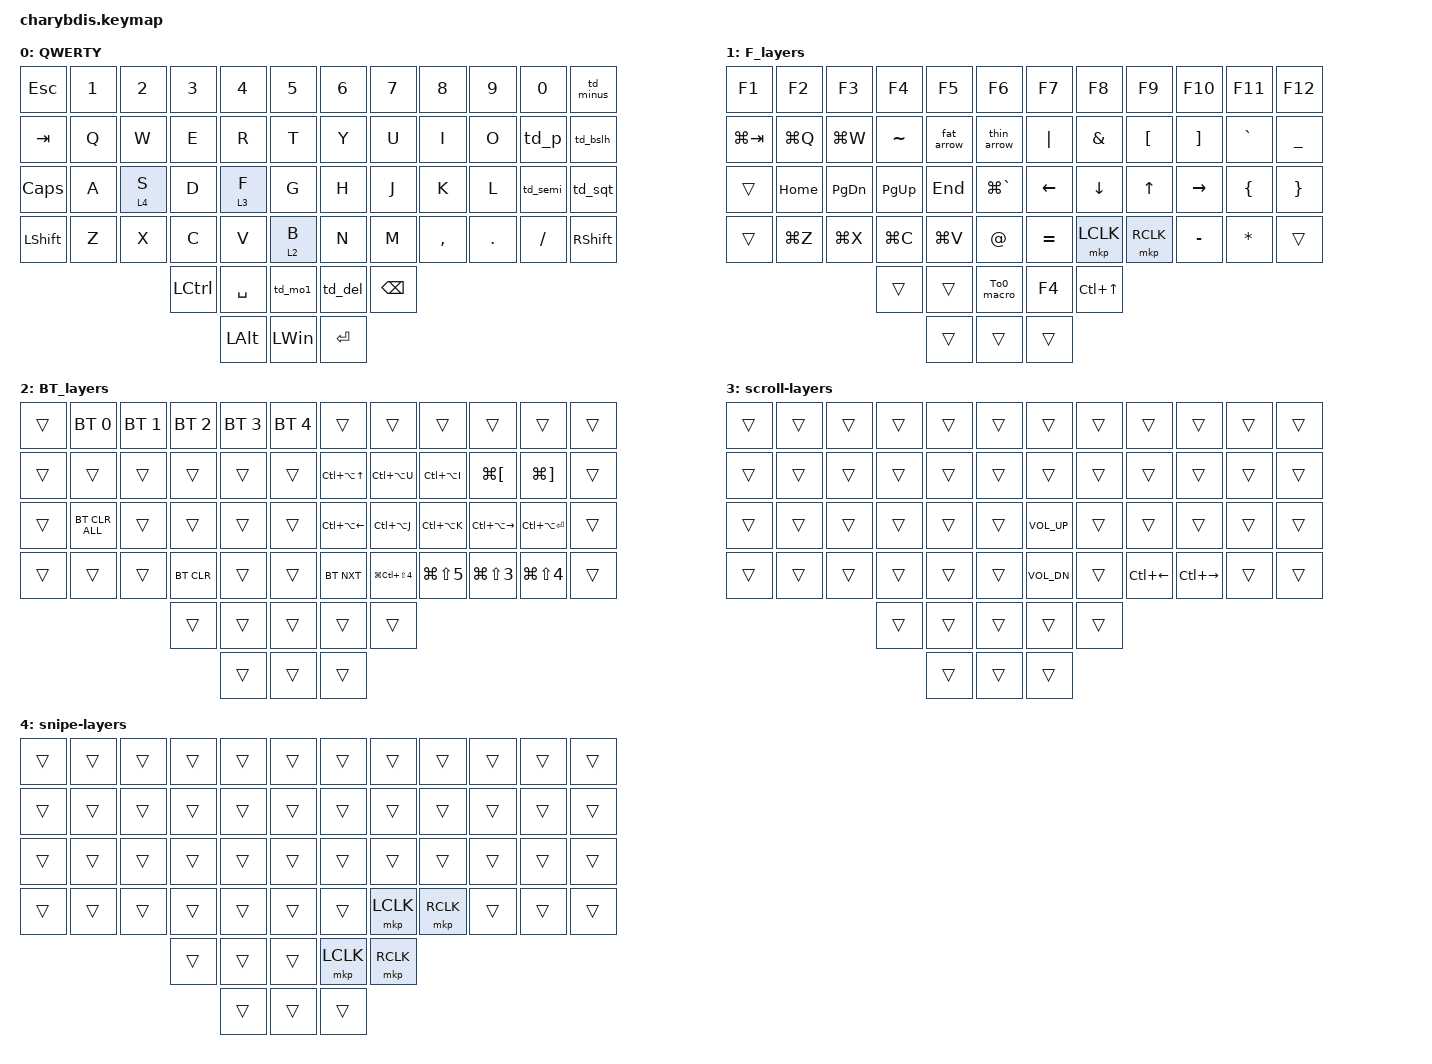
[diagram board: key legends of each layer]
#include <behaviors.dtsi>
#include <dt-bindings/zmk/bt.h>
#include <dt-bindings/zmk/keys.h>
#include <dt-bindings/zmk/pointing.h>
#include <dt-bindings/zmk/rgb.h>

&lt {
    tapping-term-ms = <200>;
    flavor = "balanced";
    quick-tap-ms = <150>;
};

/ {
    behaviors {
        td_semi: td_semi {
            compatible = "zmk,behavior-tap-dance";
            #binding-cells = <0>;
            tapping-term-ms = <200>;
            bindings = <&kp SEMI>, <&kp COLON>;
        };
        td_sqt: td_sqt {
            compatible = "zmk,behavior-tap-dance";
            #binding-cells = <0>;
            tapping-term-ms = <200>;
            bindings = <&kp SQT>, <&kp DQT>;
        };
        td_del: td_del {
            compatible = "zmk,behavior-tap-dance";
            #binding-cells = <0>;
            tapping-term-ms = <200>;
            bindings = <&kp DEL>, <&kp LG(BSPC)>;
        };
        td_bslh: td_bslh {
            compatible = "zmk,behavior-tap-dance";
            #binding-cells = <0>;
            tapping-term-ms = <200>;
            bindings = <&kp BSLH>, <&kp PIPE>;
        };
        td_p: td_p {
            compatible = "zmk,behavior-tap-dance";
            #binding-cells = <0>;
            tapping-term-ms = <200>;
            bindings = <&kp P>, <&kp PLUS>;
        };
        td_minus: td_minus {
            compatible = "zmk,behavior-tap-dance";
            #binding-cells = <0>;
            tapping-term-ms = <200>;
            bindings = <&kp MINUS>, <&kp EQUAL>;
        };
        td_mo1: td_mo1 {
            compatible = "zmk,behavior-tap-dance";
            #binding-cells = <0>;
            tapping-term-ms = <150>;
            bindings = <&mo 1>, <&kp LA(SPACE)>;
        };
    };

    macros {
        To1_macro: To1_macro {
            compatible = "zmk,behavior-macro";
            label = "To1_macro";
            #binding-cells = <0>;
            bindings = <&rgb_ug RGB_EFF &rgb_ug RGB_COLOR_HSB(128,100,50) &to 1>;
        };

        To0_macro: To0_macro {
            compatible = "zmk,behavior-macro";
            label = "To0_macro";
            #binding-cells = <0>;
            bindings = <&rgb_ug RGB_EFR &to 0>;
        };

        To2_macro: To2_macro {
            compatible = "zmk,behavior-macro";
            label = "To2_macro";
            #binding-cells = <0>;
            bindings =
                <&to 2>,
                <&macro_wait_time 30>,
                <&rgb_ug RGB_COLOR_HSB(250,100,50)>;
        };

        fat_arrow: fat_arrow {
            compatible = "zmk,behavior-macro";
            label = "fat_arrow";
            #binding-cells = <0>;
            wait-ms = <40>;
            tap-ms = <40>;
            bindings = <&kp EQUAL &kp GT>;
        };

        thin_arrow: thin_arrow {
            compatible = "zmk,behavior-macro";
            label = "thin_arrow";
            #binding-cells = <0>;
            wait-ms = <40>;
            tap-ms = <40>;
            bindings = <&kp MINUS &kp GT>;
        };
    };

    keymap {
        compatible = "zmk,keymap";

        QWERTY {
            bindings = <
&kp ESC         &kp N1  &kp N2   &kp N3            &kp N4        &kp N5          &kp N6    &kp N7  &kp N8     &kp N9   &kp N0     &td_minus
&kp TAB         &kp Q   &kp W    &kp E             &kp R         &kp T           &kp Y     &kp U   &kp I      &kp O    &td_p      &td_bslh
&kp CAPSLOCK    &kp A   &lt 4 S  &kp D             &lt 3 F       &kp G           &kp H     &kp J   &kp K      &kp L    &td_semi   &td_sqt
&kp LEFT_SHIFT  &kp Z   &kp X    &kp C             &kp V         &lt 2 B         &kp N     &kp M   &kp COMMA  &kp DOT  &kp FSLH   &kp RIGHT_SHIFT
                                 &kp LEFT_CONTROL  &kp SPACE     &td_mo1         &td_del   &kp BACKSPACE
                                                   &kp LEFT_ALT  &kp LEFT_WIN    &kp ENTER
            >;
        };

        F_layers {
            bindings = <
&kp F1       &kp F2     &kp F3     &kp F4     &kp F5      &kp F6          &kp F7     &kp F8     &kp F9    &kp F10   &kp F11    &kp F12
&kp LG(TAB)  &kp LG(Q)  &kp LG(W)  &kp TILDE  &fat_arrow  &thin_arrow     &kp PIPE   &kp AMPS   &kp LBKT  &kp RBKT  &kp GRAVE  &kp UNDER
&trans       &kp HOME   &kp PG_DN  &kp PG_UP  &kp END     &kp LG(GRAVE)   &kp LEFT   &kp DOWN   &kp UP    &kp RIGHT &kp LBRC   &kp RBRC
&trans       &kp LG(Z)  &kp LG(X)  &kp LG(C)  &kp LG(V)  &kp AT          &kp EQUAL  &mkp LCLK  &mkp RCLK &kp MINUS &kp STAR   &trans
                                    &trans     &trans      &To0_macro      &kp F4     &kp LC(UP)
                                               &trans      &trans          &trans
            >;
        };

        BT_layers {
            bindings = <
&trans  &bt BT_SEL 0    &bt BT_SEL 1  &bt BT_SEL 2  &bt BT_SEL 3  &bt BT_SEL 4    &trans            &trans           &trans           &trans              &trans           &trans
&trans  &trans          &trans        &trans        &trans        &trans          &kp LC(LA(UP))    &kp LC(LA(U))    &kp LC(LA(I))    &kp LG(LBKT)        &kp LG(RBKT)     &trans
&trans  &bt BT_CLR_ALL  &trans        &trans        &trans        &trans          &kp LC(LA(LEFT))  &kp LC(LA(J))    &kp LC(LA(K))    &kp LC(LA(RIGHT))   &kp LC(LA(RET))  &trans
&trans  &trans          &trans        &bt BT_CLR    &trans        &trans          &bt BT_NXT        &kp LG(LC(LS(N4)))  &kp LG(LS(N5))  &kp LG(LS(N3))  &kp LG(LS(N4))   &trans
                                      &trans        &trans        &trans          &trans      &trans
                                                    &trans        &trans          &trans
            >;
        };

        scroll-layers {
            bindings = <
&trans  &trans  &trans  &trans  &trans  &trans    &trans         &trans  &trans         &trans          &trans  &trans
&trans  &trans  &trans  &trans  &trans  &trans    &trans         &trans  &trans         &trans          &trans  &trans
&trans  &trans  &trans  &trans  &trans  &trans    &kp C_VOL_UP   &trans  &trans         &trans          &trans  &trans
&trans  &trans  &trans  &trans  &trans  &trans    &kp C_VOL_DN   &trans  &kp LC(LEFT)   &kp LC(RIGHT)   &trans  &trans
                        &trans  &trans  &trans    &trans         &trans
                                &trans  &trans    &trans
            >;
        };

        snipe-layers {
            bindings = <
&trans  &trans  &trans  &trans  &trans  &trans    &trans     &trans     &trans  &trans  &trans  &trans
&trans  &trans  &trans  &trans  &trans  &trans    &trans     &trans     &trans  &trans  &trans  &trans
&trans  &trans  &trans  &trans  &trans  &trans    &trans     &trans     &trans  &trans  &trans  &trans
&trans  &trans  &trans  &trans  &trans  &trans    &trans     &mkp LCLK  &mkp RCLK  &trans  &trans  &trans
                        &trans  &trans  &trans    &mkp LCLK  &mkp RCLK
                                &trans  &trans    &trans
            >;
        };

    };
};
